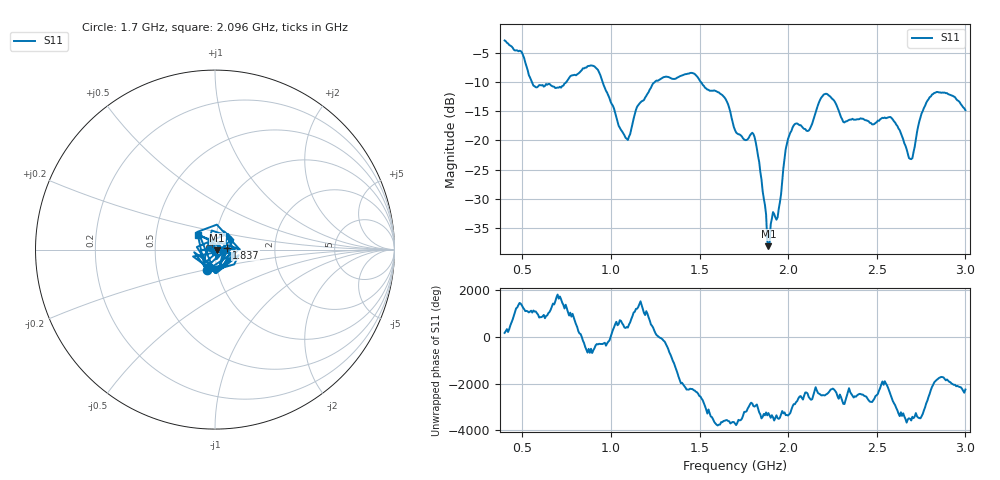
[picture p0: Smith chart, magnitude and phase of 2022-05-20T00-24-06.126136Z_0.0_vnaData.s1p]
!Created with skrf (http://scikit-rf.org).
# Hz S RI R 50.0
!freq ReS11 ImS11
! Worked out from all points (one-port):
!   401 points, 400 MHz to 3 GHz, reference 50 ohm
!   lowest |S11| = -38.1 dB at 1.889 GHz (marker M1), VSWR 1.03, Z = 51.2 - j0.416 ohm
!   |S11| at or under -10 dB: 553.7 MHz to 748.7 MHz (195 MHz wide, 29.9 % of centre); 952.4 MHz to 1.248 GHz (295.7 MHz wide, 26.9 % of centre); 1.507 GHz to end of sweep
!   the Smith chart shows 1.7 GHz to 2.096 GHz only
!   S11 on the Smith chart (normalised r, x): 1.7 GHz: 0.90, -0.21; 1.837 GHz: 1.14, +0.02; 2.096 GHz: 0.81, +0.13
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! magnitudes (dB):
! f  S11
! 400 MHz  -2.9
! 497.5 MHz  -5.0
! 569 MHz  -10.7
! 725 MHz  -10.7
! 907 MHz  -7.4
! 1.05 GHz  -17.8
! 1.095 GHz  -19.9
! 1.147 GHz  -14.2
! 1.245 GHz  -10.1
! 1.375 GHz  -9.2
! 1.466 GHz  -8.5
! 1.622 GHz  -12.1
! 1.7 GHz  -18.2
! 1.804 GHz  -18.9
! 1.837 GHz  -23.7
! 1.889 GHz  -38.1
! 1.947 GHz  -31.7
! 1.986 GHz  -21.5
! 2.025 GHz  -17.8
! 2.096 GHz  -18.1
! 2.207 GHz  -12.1
! 2.35 GHz  -16.4
! 2.578 GHz  -16.0
! 2.675 GHz  -22.3
! 2.701 GHz  -23.0
! 2.753 GHz  -15.4
! 2.825 GHz  -11.9
! 3 GHz  -14.8
